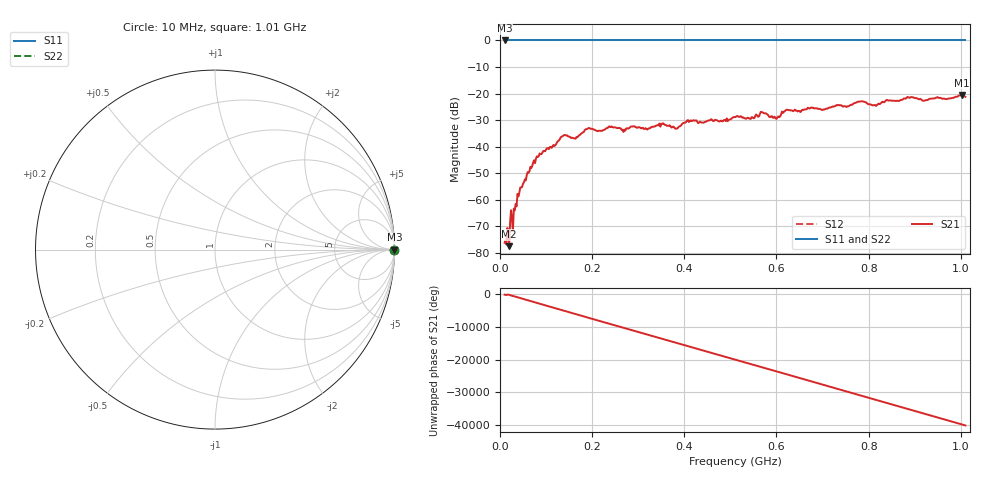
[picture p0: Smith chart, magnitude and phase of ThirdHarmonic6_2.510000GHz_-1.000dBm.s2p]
! 8/17/2025 4:52:29 AM
! C:\ANRITSUVNA\TEMP\TEMP.S2P
! CHANNEL.1
! TR.MEASUREMENT
! RAW.DATA
! RF.CORRECTION.OFF
! AVERAGING.OFF
! IF.BANDWIDTH: 5KHZ
! SWEEPTYPE:  FREQ.SWEEP(Linear)
! Reference Plane Port Info
! PORT:  PORT1  PORT2
! DISTANCE:  0  m  0  m
! TIME:  0  s  0  s
! PHASE.OFFSET:  0  deg.  0  deg.
! LOSS:  0  dB  0  dB
! REF.LOSS:  0  dB  0  dB
! REF.FREQ:  0  Hz  0  Hz
! Power Info
! POWER:  -20  dBm  -20  dBm
! EFF.POWER:  -20  dBm  -20  dBm
! SOURCE.ATTEN:  0  dB  0  dB
! TEST.ATTEN:  0  dB  0  dB
# GHZ S RI R 50.0
! FREQ.GHZ  S11RE  S11IM  S21RE  S21IM  S12RE  S12IM  S22RE  S22IM
!; PortSelection: Port_12
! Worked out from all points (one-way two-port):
!   501 points, 10 MHz to 1.01 GHz, reference 50 ohm
!   highest |S21| = -20.54 dB at 1.002 GHz (marker M1); lowest = -77.5 dB at 20 MHz (marker M2)
!   lowest |S11| = 0.0 dB at 10 MHz (marker M3)
!   |S11| at or under -10 dB: nowhere
!   |S22| runs from 0.0 to 0.0 dB; largest |S21 - S12| = 1.1
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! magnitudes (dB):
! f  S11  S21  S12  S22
! 10 MHz  0.0  -76.2  0.0  0.0
! 16 MHz  0.0  -70.7  0.0  0.0
! 20 MHz  0.0  -77.5  0.0  0.0
! 24 MHz  0.0  -63.9  0.0  0.0
! 42 MHz  0.0  -57.3  0.0  0.0
! 82 MHz  0.0  -43.9  0.0  0.0
! 136 MHz  0.0  -36.0  0.0  0.0
! 162 MHz  0.0  -37.0  0.0  0.0
! 178 MHz  0.0  -34.9  0.0  0.0
! 192 MHz  0.0  -33.0  0.0  0.0
! 344 MHz  0.0  -32.0  0.0  0.0
! 382 MHz  0.0  -33.2  0.0  0.0
! 410 MHz  0.0  -30.7  0.0  0.0
! 510 MHz  0.0  -28.9  0.0  0.0
! 548 MHz  0.0  -28.9  0.0  0.0
! 570 MHz  0.0  -27.1  0.0  0.0
! 602 MHz  0.0  -29.0  0.0  0.0
! 622 MHz  0.0  -26.1  0.0  0.0
! 678 MHz  0.0  -25.4  0.0  0.0
! 844 MHz  0.0  -22.6  0.0  0.0
! 1.002 GHz  0.0  -20.5  0.0  0.0
! 1.01 GHz  0.0  -21.2  0.0  0.0
